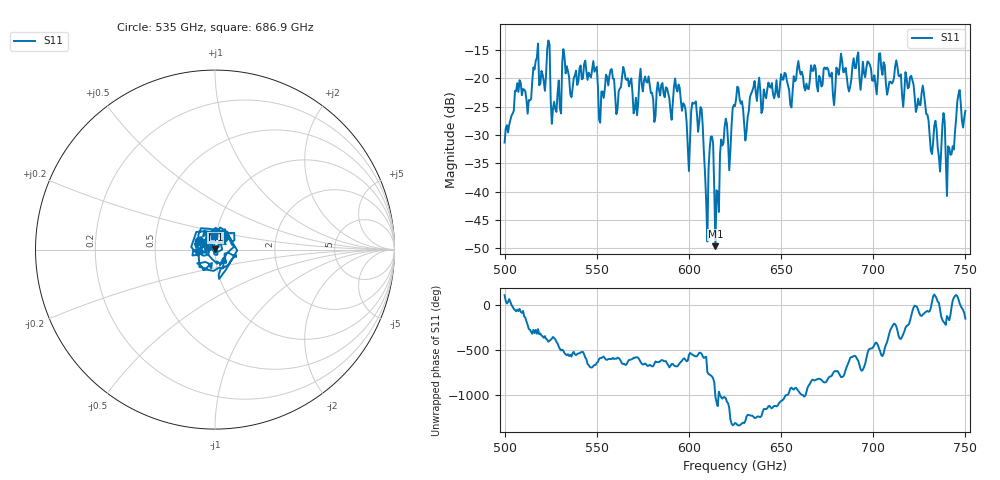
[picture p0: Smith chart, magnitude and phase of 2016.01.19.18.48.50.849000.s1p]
!Created with skrf (http://scikit-rf.org).
# GHz S RI R 50.0
!freq ReS11 ImS11
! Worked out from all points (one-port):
!   401 points, 500 GHz to 750 GHz, reference 50 ohm
!   lowest |S11| = -49.6 dB at 614.4 GHz (marker M1), VSWR 1.01, Z = 50.2 + j0.273 ohm
!   |S11| at or under -10 dB: start of sweep to end of sweep
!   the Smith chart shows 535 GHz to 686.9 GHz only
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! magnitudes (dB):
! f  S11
! 500 GHz  -31.3
! 506.9 GHz  -20.8
! 513.1 GHz  -23.8
! 516.9 GHz  -16.9
! 523.8 GHz  -13.3
! 526.9 GHz  -24.1
! 531.2 GHz  -17.3
! 562.5 GHz  -21.8
! 593.8 GHz  -22.3
! 599.4 GHz  -32.0
! 602.5 GHz  -24.5
! 606.2 GHz  -25.1
! 609.4 GHz  -41.7
! 611.9 GHz  -30.3
! 614.4 GHz  -49.6
! 618.8 GHz  -31.4
! 622.5 GHz  -32.7
! 625 GHz  -24.9
! 631.2 GHz  -29.4
! 635 GHz  -21.6
! 656.2 GHz  -22.4
! 660 GHz  -18.5
! 687.5 GHz  -21.4
! 690.6 GHz  -18.2
! 718.8 GHz  -21.8
! 740.6 GHz  -32.0
! 746.2 GHz  -22.8
! 750 GHz  -25.8
